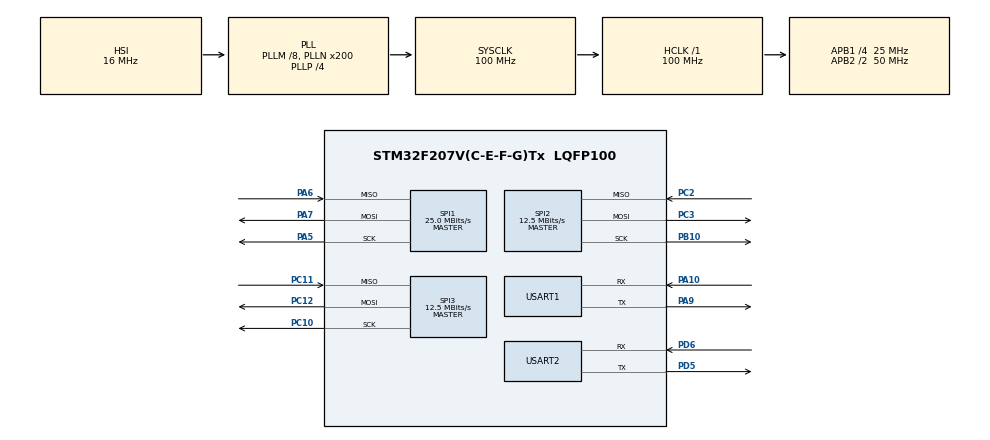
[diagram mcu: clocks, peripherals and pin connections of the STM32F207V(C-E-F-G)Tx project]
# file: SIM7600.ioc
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Dma.Request0=USART1_RX
Dma.Request1=USART1_TX
Dma.Request2=USART2_RX
Dma.Request3=USART2_TX
Dma.USART1_RX.0.Direction=DMA_PERIPH_TO_MEMORY
Dma.USART1_RX.0.FIFOMode=DMA_FIFOMODE_DISABLE
Dma.USART1_RX.0.Instance=DMA2_Stream2
Dma.USART1_RX.0.MemDataAlignment=DMA_MDATAALIGN_BYTE
Dma.USART1_RX.0.MemInc=DMA_MINC_ENABLE
Dma.USART1_RX.0.Mode=DMA_NORMAL
Dma.USART1_RX.0.PeriphDataAlignment=DMA_PDATAALIGN_BYTE
Dma.USART1_RX.0.PeriphInc=DMA_PINC_DISABLE
Dma.USART1_RX.0.Priority=DMA_PRIORITY_LOW
Dma.USART1_TX.1.Direction=DMA_MEMORY_TO_PERIPH
Dma.USART1_TX.1.FIFOMode=DMA_FIFOMODE_DISABLE
Dma.USART1_TX.1.Instance=DMA2_Stream7
Dma.USART1_TX.1.MemDataAlignment=DMA_MDATAALIGN_BYTE
Dma.USART1_TX.1.MemInc=DMA_MINC_ENABLE
Dma.USART1_TX.1.Mode=DMA_NORMAL
Dma.USART1_TX.1.PeriphDataAlignment=DMA_PDATAALIGN_BYTE
Dma.USART1_TX.1.PeriphInc=DMA_PINC_DISABLE
Dma.USART1_TX.1.Priority=DMA_PRIORITY_LOW
Dma.USART2_RX.2.Direction=DMA_PERIPH_TO_MEMORY
Dma.USART2_RX.2.FIFOMode=DMA_FIFOMODE_DISABLE
Dma.USART2_RX.2.Instance=DMA1_Stream5
Dma.USART2_RX.2.MemDataAlignment=DMA_MDATAALIGN_BYTE
Dma.USART2_RX.2.MemInc=DMA_MINC_ENABLE
Dma.USART2_RX.2.Mode=DMA_NORMAL
Dma.USART2_RX.2.PeriphDataAlignment=DMA_PDATAALIGN_BYTE
Dma.USART2_RX.2.PeriphInc=DMA_PINC_DISABLE
Dma.USART2_RX.2.Priority=DMA_PRIORITY_LOW
Dma.USART2_TX.3.Direction=DMA_MEMORY_TO_PERIPH
Dma.USART2_TX.3.FIFOMode=DMA_FIFOMODE_DISABLE
Dma.USART2_TX.3.Instance=DMA1_Stream6
Dma.USART2_TX.3.MemDataAlignment=DMA_MDATAALIGN_BYTE
Dma.USART2_TX.3.MemInc=DMA_MINC_ENABLE
Dma.USART2_TX.3.Mode=DMA_NORMAL
Dma.USART2_TX.3.PeriphDataAlignment=DMA_PDATAALIGN_BYTE
Dma.USART2_TX.3.PeriphInc=DMA_PINC_DISABLE
Dma.USART2_TX.3.Priority=DMA_PRIORITY_LOW
Mcu.Family=STM32F2
Mcu.Name=STM32F207V(C-E-F-G)Tx
Mcu.Package=LQFP100
NVIC.DMA1_Stream5_IRQn=true\:7\:0\:true\:true\:true\:5\:false
NVIC.DMA1_Stream6_IRQn=true\:7\:0\:true\:true\:true\:4\:false
NVIC.DMA2_Stream2_IRQn=true\:4\:0\:true\:true\:true\:1\:false
NVIC.DMA2_Stream7_IRQn=true\:5\:0\:true\:true\:true\:2\:false
NVIC.PriorityGroup=NVIC_PRIORITYGROUP_4
NVIC.USART1_IRQn=true\:3\:0\:true\:true\:true\:6\:true
NVIC.USART2_IRQn=true\:7\:0\:true\:true\:true\:3\:true
PA10.Mode=Asynchronous
PA10.Signal=USART1_RX
PA13.Mode=Serial_Wire
PA13.Signal=SYS_JTMS-SWDIO
PA14.Mode=Serial_Wire
PA14.Signal=SYS_JTCK-SWCLK
PA5.Mode=Full_Duplex_Master
PA5.Signal=SPI1_SCK
PA6.Mode=Full_Duplex_Master
PA6.Signal=SPI1_MISO
PA7.Mode=Full_Duplex_Master
PA7.Signal=SPI1_MOSI
PA9.Mode=Asynchronous
PA9.Signal=USART1_TX
PB10.Mode=Full_Duplex_Master
PB10.Signal=SPI2_SCK
PC10.Mode=Full_Duplex_Master
PC10.Signal=SPI3_SCK
PC11.Mode=Full_Duplex_Master
PC11.Signal=SPI3_MISO
PC12.Mode=Full_Duplex_Master
PC12.Signal=SPI3_MOSI
PC2.Mode=Full_Duplex_Master
PC2.Signal=SPI2_MISO
PC3.Mode=Full_Duplex_Master
PC3.Signal=SPI2_MOSI
PD5.Mode=Asynchronous
PD5.Signal=USART2_TX
PD6.Mode=Asynchronous
PD6.Signal=USART2_RX
PH0-OSC_IN.Mode=HSE-External-Oscillator
PH0-OSC_IN.Signal=RCC_OSC_IN
PH1-OSC_OUT.Mode=HSE-External-Oscillator
PH1-OSC_OUT.Signal=RCC_OSC_OUT
ProjectManager.HeapSize=0x200
ProjectManager.StackSize=0x400
ProjectManager.TargetToolchain=MDK-ARM V5
RCC.48MHZClocksFreq_Value=100000000
RCC.AHBFreq_Value=100000000
RCC.APB1CLKDivider=RCC_HCLK_DIV4
RCC.APB1Freq_Value=25000000
RCC.APB1TimFreq_Value=50000000
RCC.APB2CLKDivider=RCC_HCLK_DIV2
RCC.APB2Freq_Value=50000000
RCC.APB2TimFreq_Value=100000000
RCC.CortexFreq_Value=100000000
RCC.HCLKFreq_Value=100000000
RCC.HSE_VALUE=25000000
RCC.HSI_VALUE=16000000
RCC.LSE_VALUE=32768
RCC.PLLM=8
RCC.PLLN=200
RCC.PLLP=RCC_PLLP_DIV4
RCC.SYSCLKFreq_VALUE=100000000
RCC.SYSCLKSource=RCC_SYSCLKSOURCE_PLLCLK
RCC.VCOOutputFreq_Value=400000000
SPI1.CalculateBaudRate=25.0 MBits/s
SPI1.Direction=SPI_DIRECTION_2LINES
SPI1.Mode=SPI_MODE_MASTER
SPI1.VirtualType=VM_MASTER
SPI2.CalculateBaudRate=12.5 MBits/s
SPI2.Direction=SPI_DIRECTION_2LINES
SPI2.Mode=SPI_MODE_MASTER
SPI2.VirtualType=VM_MASTER
SPI3.CalculateBaudRate=12.5 MBits/s
SPI3.Direction=SPI_DIRECTION_2LINES
SPI3.Mode=SPI_MODE_MASTER
SPI3.VirtualType=VM_MASTER
USART1.VirtualMode=VM_ASYNC
USART2.VirtualMode=VM_ASYNC
board=SIM7600

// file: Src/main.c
/**
  ******************************************************************************
  * File Name          : main.c
  * Description        : Main program body
  ******************************************************************************
  ** This notice applies to any and all portions of this file
  * that are not between comment pairs USER CODE BEGIN and
  * USER CODE END. Other portions of this file, whether
  * inserted by the user or by software development tools
  * are owned by their respective copyright owners.
  *
  * COPYRIGHT(c) 2017 STMicroelectronics
  *
  * Redistribution and use in source and binary forms, with or without modification,
  * are permitted provided that the following conditions are met:
  *   1. Redistributions of source code must retain the above copyright notice,
  *      this list of conditions and the following disclaimer.
  *   2. Redistributions in binary form must reproduce the above copyright notice,
  *      this list of conditions and the following disclaimer in the documentation
  *      and/or other materials provided with the distribution.
  *   3. Neither the name of STMicroelectronics nor the names of its contributors
  *      may be used to endorse or promote products derived from this software
  *      without specific prior written permission.
  *
  * THIS SOFTWARE IS PROVIDED BY THE COPYRIGHT HOLDERS AND CONTRIBUTORS "AS IS"
  * AND ANY EXPRESS OR IMPLIED WARRANTIES, INCLUDING, BUT NOT LIMITED TO, THE
  * IMPLIED WARRANTIES OF MERCHANTABILITY AND FITNESS FOR A PARTICULAR PURPOSE ARE
  * DISCLAIMED. IN NO EVENT SHALL THE COPYRIGHT HOLDER OR CONTRIBUTORS BE LIABLE
  * FOR ANY DIRECT, INDIRECT, INCIDENTAL, SPECIAL, EXEMPLARY, OR CONSEQUENTIAL
  * DAMAGES (INCLUDING, BUT NOT LIMITED TO, PROCUREMENT OF SUBSTITUTE GOODS OR
  * SERVICES; LOSS OF USE, DATA, OR PROFITS; OR BUSINESS INTERRUPTION) HOWEVER
  * CAUSED AND ON ANY THEORY OF LIABILITY, WHETHER IN CONTRACT, STRICT LIABILITY,
  * OR TORT (INCLUDING NEGLIGENCE OR OTHERWISE) ARISING IN ANY WAY OUT OF THE USE
  * OF THIS SOFTWARE, EVEN IF ADVISED OF THE POSSIBILITY OF SUCH DAMAGE.
  *
  ******************************************************************************
  */

#include "main.h"
#include "stm32f2xx_hal.h"
#include "dma.h"
#include "spi.h"
#include "gpio.h"
#include "usart.h"

/* USER CODE BEGIN Includes */

#include "etimer.h"
#include "autostart.h"
#include "delay.h"
#include "sim7600.h"

/* USER CODE END Includes */

/* USER CODE BEGIN PV */
/* Private variables ---------------------------------------------------------*/
#ifdef __GNUC__
  /* With GCC/RAISONANCE, small printf (option LD Linker->Libraries->Small printf
     set to 'Yes') calls __io_putchar() */
  #define PUTCHAR_PROTOTYPE int __io_putchar(int ch)
#else
  #define PUTCHAR_PROTOTYPE int fputc(int ch, FILE *f)
#endif /* __GNUC__ */

 /**
  * @brief  Retargets the C library printf function to the USART.
  * @param  None
  * @retval None
  */
PUTCHAR_PROTOTYPE
{
  /* Place your implementation of fputc here */
  /* e.g. write a character to the USART */
  HAL_UART_Transmit(&huart1, (uint8_t *)&ch, 1, 0xFFFF);
  return ch;
}

uint16_t idle_counter = 0;

PROCESS(helloworld_process,"helloworld");
PROCESS(sim7600_break_process,"usartrx1");
PROCESS(sim7600_send_process,"usartrx2");

AUTOSTART_PROCESSES(&sim7600_send_process); //&helloworld_process,

/* USER CODE END PV */

void SystemClock_Config(void);
static void MX_NVIC_Init(void);

/* USER CODE BEGIN PFP */
/* Private function prototypes -----------------------------------------------*/

/* USER CODE END PFP */

/* USER CODE BEGIN 0 */

process_event_t sim7600_callbreak;
process_event_t sim7600_call;

/*
*Function:helloworld Process
*Input Paragramed:
*Output Paragramed:
*Remarks:
*/
PROCESS_THREAD(helloworld_process,ev,data)
{
	static struct etimer et;
	PROCESS_BEGIN();

	USR_UsrLog("Contiki System Blink Process...");
	etimer_set(&et,CLOCK_SECOND/1000);
	while(1)
	{
		PROCESS_WAIT_EVENT_UNTIL(etimer_expired(&et));
		HAL_UART_Receive_DMA(&huart1,(uint8_t *)UART_RX_DATA1.USART_RX_BUF,BUFFER_SIZE);

//		HAL_UART_Transmit_DMA(&huart1, "Hello world welcome\r\n", strlen("Hello world welcome\r\n"));
		etimer_reset(&et);
	}
	PROCESS_END();
}

/*
*Function:sim7600_break Process
*Input Paragramed:
*Output Paragramed:
*Remarks:
*/
PROCESS_THREAD(sim7600_break_process,ev,data)
{
	static struct etimer timer;
	PROCESS_BEGIN();

	USR_UsrLog("Contiki System Usartrx Process...");

	etimer_set(&timer,CLOCK_SECOND);
	while(1)
	{
	    //等待数据到来
        PROCESS_WAIT_EVENT_UNTIL(ev == PROCESS_EVENT_TIMER);
//		if(UART_RX_DATA2.USART_RX_End_Flag)
		{
//			Usart1SendData_DMA(UART_RX_DATA2.USART_RX_BUF, UART_RX_DATA2.USART_RX_Len);

			if(UART_RX_DATA2.USART_TX_Flag == USART_DMA_SENDOVER)
			{
				memset(UART_RX_DATA2.USART_RX_BUF,0,UART_RX_DATA2.USART_RX_Len);
				UART_RX_DATA2.USART_RX_Len=0;
				UART_RX_DATA2.USART_RX_End_Flag = false;
//				process_post(&sim7600_send_process, sim7600_call, NULL);
			}
		}
		etimer_reset(&timer);
	}
	PROCESS_END();
}

bool first = false;

static uint32_t time_out = 0;

/*
*Function:sim7600_send Process
*Input Paragramed:
*Output Paragramed:
*Remarks:
*/
PROCESS_THREAD(sim7600_send_process,ev,data)
{
	static struct etimer timer;

	PROCESS_BEGIN();

	USR_UsrLog("Contiki System Usartrx Process...");

	etimer_set(&timer,CLOCK_SECOND*20);

	while(1)
	{
		PROCESS_YIELD();

		if(ev == PROCESS_EVENT_TIMER)
		{
//			printf("----test----%d\r\n",HAL_GetTick()-time_out);
//			if(!first)
			{
				if(REPLY_SEND_DONE == SimcomSendData("hello world\r\n", 500)) ///发送成功，接收服务器应答，应答失败则再次重发两次，两次后不再重发
				first = true;
			}

			///网络被断开，再次初始化网络
//			if(commandid_reply == REPLY_CIPCLOSE)
//			{
//				if(REPLY_CIPOPEN_ERROR == SimcomConnectServer(SERVER_ADDR, SERVER_PORT, 1000, 1))
//				{
//					printf("CIP is open\r\n");
//				}
//				first = false;
//				time_out = HAL_GetTick();
//			}
			etimer_reset(&timer);
		}
	}
	PROCESS_END();
}
/* USER CODE BEGIN PV */

/* USER CODE END PV */

/* USER CODE END 0 */

int main(void)
{

	/* MCU Configuration----------------------------------------------------------*/

	/* Reset of all peripherals, Initializes the Flash interface and the Systick. */
	HAL_Init();

	/* Configure the system clock */
	SystemClock_Config();

	/* USER CODE BEGIN SysInit */
	delay_init(100);
	/* USER CODE END SysInit */

	/* Initialize all configured peripherals */
	MX_GPIO_Init();
	MX_DMA_Init();
	MX_USART1_UART_Init();
	MX_SPI3_Init();
	MX_SPI1_Init();
	MX_SPI2_Init();
	MX_USART2_UART_Init();

	/* Initialize interrupts */
	MX_NVIC_Init();

	/* USER CODE BEGIN 2 */
	///使能空闲中断
	HAL_UART_Receive_DMA(&huart1,(uint8_t *)UART_RX_DATA1.USART_RX_BUF,BUFFER_SIZE);
	__HAL_UART_ENABLE_IT(&huart1, UART_IT_IDLE);

	HAL_UART_Receive_DMA(&huart2,(uint8_t *)UART_RX_DATA2.USART_RX_BUF,BUFFER_SIZE);
	__HAL_UART_ENABLE_IT(&huart2, UART_IT_IDLE);

	uint8_t InitSimcomState = InitSimcom(  );

	if(InitSimcomState == INITSIMDONE)
	{
		DEBUG(2,"-----Init Simcom Done-----\r\n");
		SimcomOpenNet(  );

		SimcomConnectServer(  );
	}
	else
	{
		DEBUG(2,"-----Init Simcom Fail-----\r\n");
	}

	clock_init();

	process_init();
	process_start(&etimer_process,NULL);
	autostart_start(autostart_processes);

	USR_UsrLog("System Contiki InitSuccess...");
	/* USER CODE END 2 */

	/* Infinite loop */
	while (1)
	{

	/* USER CODE BEGIN 3 */
	do
	{
	}while(process_run() > 0);
	idle_counter++;

	}
	/* USER CODE END 3 */

}

/** System Clock Configuration
*/
void SystemClock_Config(void)
{

  RCC_OscInitTypeDef RCC_OscInitStruct;
  RCC_ClkInitTypeDef RCC_ClkInitStruct;

    /**Initializes the CPU, AHB and APB busses clocks
    */
  RCC_OscInitStruct.OscillatorType = RCC_OSCILLATORTYPE_HSI;
  RCC_OscInitStruct.HSIState = RCC_HSI_ON;
  RCC_OscInitStruct.HSICalibrationValue = 16;
  RCC_OscInitStruct.PLL.PLLState = RCC_PLL_ON;
  RCC_OscInitStruct.PLL.PLLSource = RCC_PLLSOURCE_HSI;
  RCC_OscInitStruct.PLL.PLLM = 8;
  RCC_OscInitStruct.PLL.PLLN = 200;
  RCC_OscInitStruct.PLL.PLLP = RCC_PLLP_DIV4;
  RCC_OscInitStruct.PLL.PLLQ = 4;
  if (HAL_RCC_OscConfig(&RCC_OscInitStruct) != HAL_OK)
  {
    _Error_Handler(__FILE__, __LINE__);
  }

    /**Initializes the CPU, AHB and APB busses clocks
    */
  RCC_ClkInitStruct.ClockType = RCC_CLOCKTYPE_HCLK|RCC_CLOCKTYPE_SYSCLK
                              |RCC_CLOCKTYPE_PCLK1|RCC_CLOCKTYPE_PCLK2;
  RCC_ClkInitStruct.SYSCLKSource = RCC_SYSCLKSOURCE_PLLCLK;
  RCC_ClkInitStruct.AHBCLKDivider = RCC_SYSCLK_DIV1;
  RCC_ClkInitStruct.APB1CLKDivider = RCC_HCLK_DIV4;
  RCC_ClkInitStruct.APB2CLKDivider = RCC_HCLK_DIV2;

  if (HAL_RCC_ClockConfig(&RCC_ClkInitStruct, FLASH_LATENCY_3) != HAL_OK)
  {
    _Error_Handler(__FILE__, __LINE__);
  }

    /**Configure the Systick interrupt time
    */
  HAL_SYSTICK_Config(HAL_RCC_GetHCLKFreq()/1000);

    /**Configure the Systick
    */
  HAL_SYSTICK_CLKSourceConfig(SYSTICK_CLKSOURCE_HCLK);

  /* SysTick_IRQn interrupt configuration */
  HAL_NVIC_SetPriority(SysTick_IRQn, 0, 0);
}

/** NVIC Configuration
*/
static void MX_NVIC_Init(void)
{
  /* DMA2_Stream2_IRQn interrupt configuration */
  HAL_NVIC_SetPriority(DMA2_Stream2_IRQn, 3, 3);
  HAL_NVIC_EnableIRQ(DMA2_Stream2_IRQn);
  /* DMA2_Stream7_IRQn interrupt configuration */
  HAL_NVIC_SetPriority(DMA2_Stream7_IRQn, 3, 1);
  HAL_NVIC_EnableIRQ(DMA2_Stream7_IRQn);
  /* USART2_IRQn interrupt configuration */
  HAL_NVIC_SetPriority(USART2_IRQn, 7, 0);
  HAL_NVIC_EnableIRQ(USART2_IRQn);
  /* DMA1_Stream6_IRQn interrupt configuration */
  HAL_NVIC_SetPriority(DMA1_Stream6_IRQn, 7, 1);
  HAL_NVIC_EnableIRQ(DMA1_Stream6_IRQn);
  /* DMA1_Stream5_IRQn interrupt configuration */
  HAL_NVIC_SetPriority(DMA1_Stream5_IRQn, 7, 3);
  HAL_NVIC_EnableIRQ(DMA1_Stream5_IRQn);
  /* USART1_IRQn interrupt configuration */
  HAL_NVIC_SetPriority(USART1_IRQn, 3, 0);
  HAL_NVIC_EnableIRQ(USART1_IRQn);
}

/* USER CODE BEGIN 4 */

extern DMA_HandleTypeDef hdma_usart1_rx;

/* USER CODE END 4 */

void _Error_Handler(char * file, int line)
{
  while(1)
  {
  }
}

/************************ (C) COPYRIGHT STMicroelectronics *****END OF FILE****/
